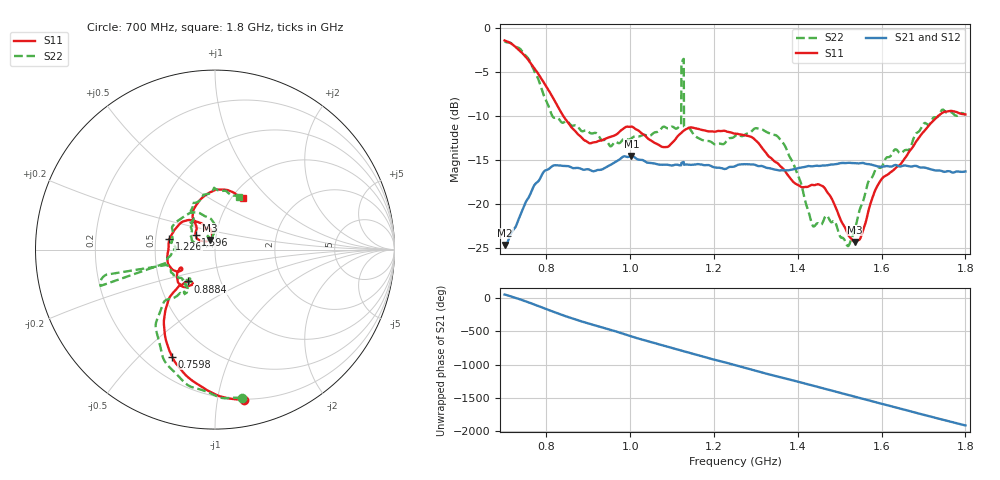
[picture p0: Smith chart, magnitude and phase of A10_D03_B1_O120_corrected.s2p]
! Created with skrf 1.9.0 (http://scikit-rf.org).
# Hz S RI R 50.0
!freq ReS11 ImS11 ReS21 ImS21 ReS12 ImS12 ReS22 ImS22
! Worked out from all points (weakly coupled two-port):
!   1601 points, 700 MHz to 1.8 GHz, reference 50 ohm
!   highest |S21| = -14.53 dB at 1.002 GHz (marker M1); lowest = -24.6 dB at 701.4 MHz (marker M2)
!   lowest |S11| = -24.3 dB at 1.535 GHz (marker M3), VSWR 1.13, Z = 47 + j5.14 ohm
!   |S11| at or under -10 dB: 840.2 MHz to 1.735 GHz (894.3 MHz wide, 69.5 % of centre)
!   |S22| runs from -24.8 to -1.5 dB; largest |S21 - S12| = 0.0035
!   S11 on the Smith chart (normalised r, x): 700 MHz: 0.20, -1.19; 759.8 MHz: 0.31, -0.63; 888.4 MHz: 0.70, -0.26; 1.226 GHz: 0.59, +0.07; 1.596 GHz: 0.80, +0.13; 1.8 GHz: 1.12, +0.71
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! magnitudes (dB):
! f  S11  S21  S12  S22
! 700 MHz  -1.4  -24.6  -24.4  -1.5
! 701.4 MHz  -1.4  -24.6  -24.3  -1.5
! 759.8 MHz  -3.8  -19.0  -18.9  -3.7
! 814.8 MHz  -7.9  -15.6  -15.7  -10.1
! 883.6 MHz  -12.4  -16.0  -15.9  -11.7
! 888.4 MHz  -12.7  -16.1  -16.0  -11.7
! 1.002 GHz  -11.2  -14.5  -14.6  -12.5
! 1.067 GHz  -13.2  -15.5  -15.4  -11.7
! 1.116 GHz  -12.1  -15.6  -15.6  -11.2
! 1.123 GHz  -11.8  -15.3  -15.2  -3.9
! 1.134 GHz  -11.5  -15.5  -15.5  -11.3
! 1.226 GHz  -11.7  -16.0  -15.9  -13.1
! 1.25 GHz  -12.0  -15.7  -15.6  -12.3
! 1.355 GHz  -15.5  -16.2  -16.1  -12.5
! 1.434 GHz  -17.8  -15.7  -15.7  -22.2
! 1.47 GHz  -18.6  -15.6  -15.6  -21.3
! 1.519 GHz  -23.4  -15.3  -15.3  -24.7
! 1.535 GHz  -24.3  -15.3  -15.3  -23.0
! 1.596 GHz  -17.4  -15.7  -15.7  -15.9
! 1.617 GHz  -16.5  -15.7  -15.7  -14.7
! 1.739 GHz  -9.8  -16.2  -16.2  -9.7
! 1.8 GHz  -9.8  -16.3  -16.3  -9.8
